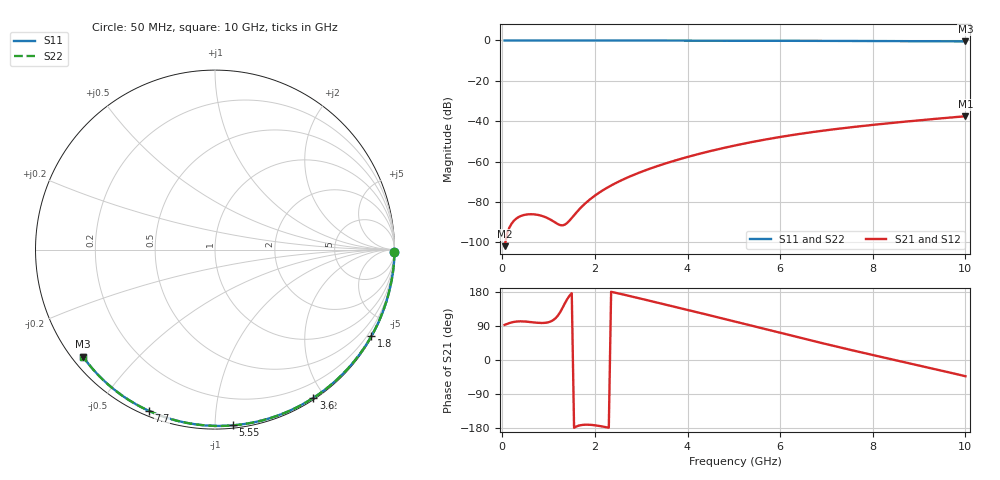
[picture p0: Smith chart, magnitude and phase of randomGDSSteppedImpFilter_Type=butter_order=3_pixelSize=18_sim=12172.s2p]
! freq	dB(S11)	phase(S11)	dB(S12)	phase(S12)
!  dB(S21)	phase(S21)	dB(S22)	phase(S22)
!S-par simulation data
#  GHz  S  DB  R 50
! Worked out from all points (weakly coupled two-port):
!   200 points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, 50 MHz to 10 GHz, reference 50 ohm
!   highest |S21| = -37.55 dB at 10 GHz (marker M1); lowest = -101.9 dB at 50 MHz (marker M2)
!   lowest |S11| = -0.5 dB at 10 GHz (marker M3), VSWR 36.63, Z = 1.54 - j17.7 ohm
!   |S11| at or under -10 dB: nowhere
!   |S22| runs from -0.5 to 0.0 dB; largest |S21 - S12| = 0
!   S11 on the Smith chart (normalised r, x): 50 MHz: open; 1.8 GHz: 0.03, -3.88; 3.6 GHz: 0.02, -1.86; 5.55 GHz: 0.02, -1.11; 7.7 GHz: 0.02, -0.67; 10 GHz: 0.03, -0.35
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0.05  -0.00 -0.8  -101.89 92.7  -101.89 92.7  -0.00 -0.8
0.45  -0.01 -7.3  -86.56 101.9  -86.56 101.9  -0.01 -7.3
0.9  -0.02 -14.6  -87.25 97.8  -87.25 97.8  -0.02 -14.6
1.75  -0.04 -28.1  -81.60 -171.0  -81.60 -171.0  -0.04 -28.1
1.8  -0.04 -28.9  -80.53 -170.7  -80.53 -170.7  -0.04 -28.9
1.85  -0.04 -29.7  -79.53 -170.7  -79.53 -170.7  -0.04 -29.7
2  -0.04 -32.0  -76.84 -172.3  -76.84 -172.3  -0.04 -32.0
2.15  -0.04 -34.4  -74.51 -175.2  -74.51 -175.2  -0.04 -34.4
2.45  -0.05 -39.0  -70.62 177.3  -70.62 177.3  -0.05 -39.0
2.85  -0.06 -45.2  -66.45 166.0  -66.45 166.0  -0.06 -45.1
3.1  -0.06 -49.0  -64.23 158.7  -64.23 158.7  -0.06 -48.9
3.4  -0.07 -53.5  -61.83 149.9  -61.83 149.9  -0.07 -53.4
3.6  -0.08 -56.4  -60.37 144.0  -60.37 144.0  -0.08 -56.4
4.3  -0.09 -66.7  -55.88 123.2  -55.88 123.2  -0.09 -66.6
5.05  -0.12 -77.3  -51.90 100.7  -51.90 100.7  -0.12 -77.2
5.55  -0.14 -84.2  -49.62 85.5  -49.62 85.5  -0.14 -84.1
6.1  -0.16 -91.6  -47.43 68.8  -47.43 68.8  -0.16 -91.5
6.7  -0.19 -99.5  -45.38 50.7  -45.38 50.7  -0.19 -99.5
7.7  -0.26 -112.4  -42.56 21.6  -42.56 21.6  -0.26 -112.3
8.35  -0.31 -120.5  -41.00 3.4  -41.00 3.4  -0.31 -120.5
9.2  -0.39 -131.1  -39.14 -20.0  -39.14 -20.0  -0.39 -131.0
10  -0.47 -141.0  -37.55 -42.9  -37.55 -42.9  -0.47 -140.9
